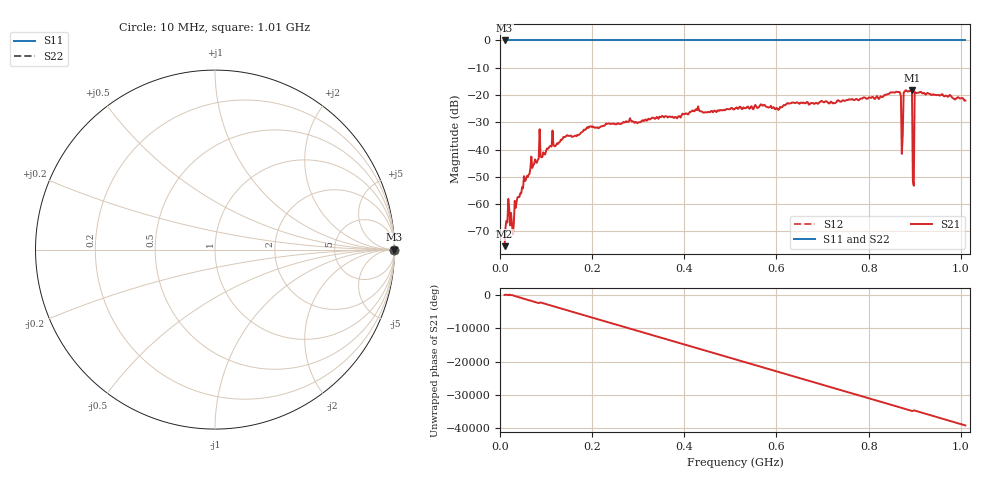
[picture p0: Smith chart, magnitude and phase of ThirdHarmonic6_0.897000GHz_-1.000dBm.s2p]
! 8/16/2025 5:27:01 AM
! C:\ANRITSUVNA\TEMP\TEMP.S2P
! CHANNEL.1
! TR.MEASUREMENT
! RAW.DATA
! RF.CORRECTION.OFF
! AVERAGING.OFF
! IF.BANDWIDTH: 5KHZ
! SWEEPTYPE:  FREQ.SWEEP(Linear)
! Reference Plane Port Info
! PORT:  PORT1  PORT2
! DISTANCE:  0  m  0  m
! TIME:  0  s  0  s
! PHASE.OFFSET:  0  deg.  0  deg.
! LOSS:  0  dB  0  dB
! REF.LOSS:  0  dB  0  dB
! REF.FREQ:  0  Hz  0  Hz
! Power Info
! POWER:  -20  dBm  -20  dBm
! EFF.POWER:  -20  dBm  -20  dBm
! SOURCE.ATTEN:  0  dB  0  dB
! TEST.ATTEN:  0  dB  0  dB
# GHZ S RI R 50.0
! FREQ.GHZ  S11RE  S11IM  S21RE  S21IM  S12RE  S12IM  S22RE  S22IM
!; PortSelection: Port_12
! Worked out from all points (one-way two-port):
!   501 points, 10 MHz to 1.01 GHz, reference 50 ohm
!   highest |S21| = -18.28 dB at 894 MHz (marker M1); lowest = -75.4 dB at 10 MHz (marker M2)
!   lowest |S11| = 0.0 dB at 10 MHz (marker M3)
!   |S11| at or under -10 dB: nowhere
!   |S22| runs from 0.0 to 0.0 dB; largest |S21 - S12| = 1.1
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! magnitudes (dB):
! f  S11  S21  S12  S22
! 10 MHz  0.0  -75.4  0.0  0.0
! 16 MHz  0.0  -66.8  0.0  0.0
! 22 MHz  0.0  -67.8  0.0  0.0
! 26 MHz  0.0  -67.6  0.0  0.0
! 36 MHz  0.0  -59.0  0.0  0.0
! 82 MHz  0.0  -43.8  0.0  0.0
! 112 MHz  0.0  -38.9  0.0  0.0
! 178 MHz  0.0  -33.6  0.0  0.0
! 344 MHz  0.0  -28.7  0.0  0.0
! 510 MHz  0.0  -25.0  0.0  0.0
! 678 MHz  0.0  -23.0  0.0  0.0
! 844 MHz  0.0  -19.6  0.0  0.0
! 866 MHz  0.0  -18.8  0.0  0.0
! 870 MHz  0.0  -20.4  0.0  0.0
! 872 MHz  0.0  -41.6  0.0  0.0
! 876 MHz  0.0  -19.2  0.0  0.0
! 880 MHz  0.0  -18.3  0.0  0.0
! 890 MHz  0.0  -18.5  0.0  0.0
! 894 MHz  0.0  -18.3  0.0  0.0
! 900 MHz  0.0  -18.8  0.0  0.0
! 904 MHz  0.0  -19.3  0.0  0.0
! 1.01 GHz  0.0  -22.0  0.0  0.0
